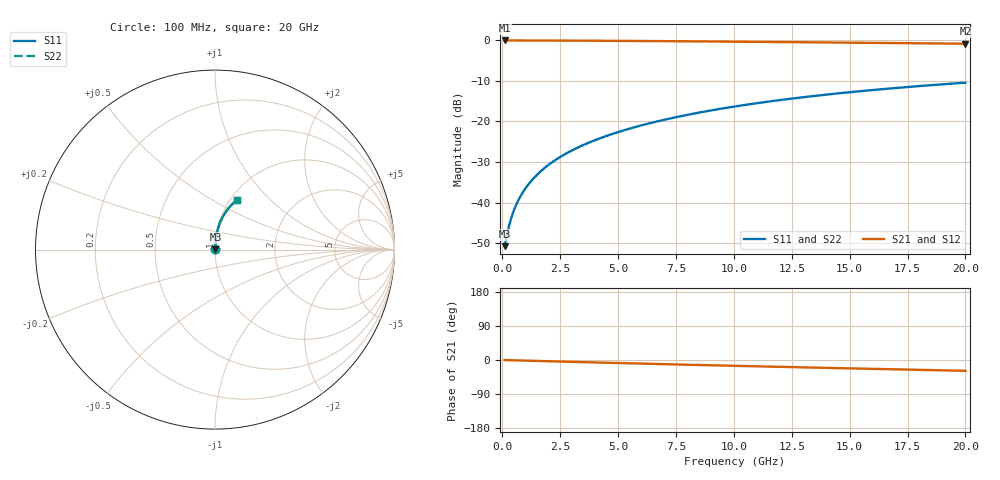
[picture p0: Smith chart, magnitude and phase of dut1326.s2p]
! Touchstone file exported from HFSS 2024.1.0
!  File:  C:/UserFiles/LocalFiles/RDL_TSV_Batchsim/temp_RDL_top_1326_1780365257.aedt
!  Generated:  09:56:41 AM Jun  2, 2026
!  Design:  RDL_top
!  Project:  temp_RDL_top_1326_1780365257
!  Setup:  Setup1
!  Solution:  Sweep
! Variables:
!  dtsv = 10.80580581um
!  hbump = 3um
!  htsv = 97.61um
!  ldown = 100um
!  lrdl = 367.28um
!  p = 40
!  p1 = 48.33um
!  rhole = 1um
!  t = 450um
!  tdown = 3.915915916um
!  trdl = 3.04um
!  wdown = 15.38538539um
!  wrdl = 19.33um
# GHz S MA R 50.000000
! Terminal data exported
! Port[1] = Box2_T1
! Port[2] = Box2_T2
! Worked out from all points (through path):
!   200 points, 100 MHz to 20 GHz, reference 50 ohm
!   highest |S21| = -0.02 dB at 100 MHz (marker M1); lowest = -0.8 dB at 20 GHz (marker M2)
!   group delay of S21, straight-line fit = 3.94 ps
!   lowest |S11| = -50.8 dB at 100 MHz (marker M3), VSWR 1.01, Z = 50.2 + j0.157 ohm
!   |S11| at or under -10 dB: start of sweep to end of sweep
!   |S22| runs from -50.8 to -10.4 dB; largest |S21 - S12| = 2.7e-15
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0.1  0.002893 32.7  0.9976 -0.2  0.9976 -0.2  0.002893 32.7
! Gamma 0 0 0 0
! Port Impedance 50 0 50 0
0.2  0.003986 51.0  0.9975 -0.3  0.9975 -0.3  0.003986 51.0
0.3  0.005278 60.5  0.9974 -0.5  0.9974 -0.5  0.005278 60.5
0.4  0.006627 66.0  0.9972 -0.7  0.9972 -0.7  0.006627 66.0
0.5  0.007992 69.7  0.9971 -0.8  0.9971 -0.8  0.007992 69.7
0.6  0.009366 72.3  0.997 -1.0  0.997 -1.0  0.009366 72.3
0.8  0.01213 75.9  0.9968 -1.3  0.9968 -1.3  0.01213 75.9
1.1  0.01633 79.0  0.9965 -1.8  0.9965 -1.8  0.01633 79.0
1.3  0.01916 80.4  0.9962 -2.1  0.9962 -2.1  0.01916 80.4
1.6  0.02343 81.8  0.9958 -2.6  0.9958 -2.6  0.02343 81.8
2.1  0.03063 83.2  0.9949 -3.4  0.9949 -3.4  0.03063 83.2
2.7  0.03937 84.1  0.9936 -4.4  0.9936 -4.4  0.03937 84.1
3.5  0.0512 84.5  0.9914 -5.7  0.9914 -5.7  0.0512 84.5
4.2  0.0617 84.5  0.9892 -6.8  0.9892 -6.8  0.0617 84.5
5  0.07388 84.3  0.9863 -8.0  0.9863 -8.0  0.07387 84.3
5.9  0.08775 83.7  0.9828 -9.4  0.9828 -9.4  0.08775 83.7
6.8  0.1018 83.0  0.9789 -10.7  0.9789 -10.7  0.1018 83.0
8.4  0.127 81.4  0.9715 -13.1  0.9715 -13.1  0.127 81.4
10.1  0.1539 79.4  0.9631 -15.5  0.9631 -15.5  0.1539 79.4
13.4  0.2052 75.1  0.946 -20.0  0.946 -20.0  0.2052 75.1
16.7  0.2544 70.7  0.9282 -24.3  0.9282 -24.3  0.2544 70.7
20  0.3006 66.3  0.9097 -28.5  0.9097 -28.5  0.3006 66.3
